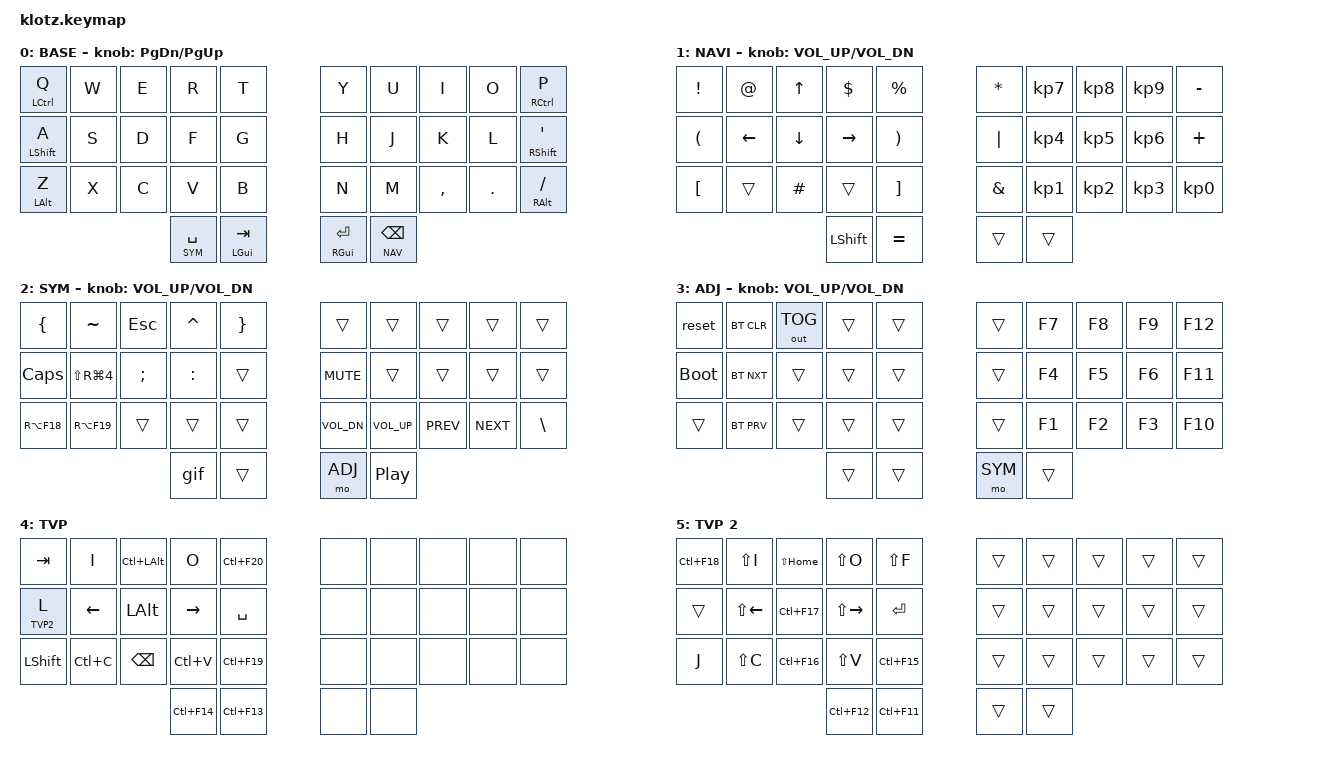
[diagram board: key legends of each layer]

//                                      █         ██        ▄▀▀▀▀▀▀▀▀▀▀█▀▀▀▀▀▀▀▀█▀▀▀▀▀▀▀▀▀▀█
//                                      █        █ █      ▄▀            ▀▄      █         █
//                                      █       █  █    ▄▀                ▀▄    █        █
//                                      █      █   █   █                    █   █       █
//                                      █     █    █   █                    █   █      █
//                                      █    █     █   █                    █   █  ▀▀▀█▀▀▀▀
//                                      █   █ █    █   █                    █   █    █
//                                      █  █   █   █   █                    █   █   █
//                                      █ █     █  █    ▀▄                ▄▀    █  █
//                                      ██       █ █      ▀▄            ▄▀      █ █
//                                      █         ██▄▄▄▄▄▄▄▄█▄▄▄▄▄▄▄▄▄▄▀        ██▄▄▄▄▄▄▄▄▄▄
//
// ▄▄▄▄▄▄▄▄▄▄▄▄▄▄▄▄▄▄▄▄▄▄▄▄▄▄▄▄▄▄▄▄▄▄▄▄▄▄▄▄▄▄▄▄▄▄▄▄▄▄▄▄▄▄▄▄▄▄▄▄▄▄▄▄▄▄▄▄▄▄▄▄▄▄▄▄▄▄▄▄▄▄▄▄▄▄▄▄▄▄▄▄▄▄▄▄▄▄▄▄▄▄▄▄▄▄▄▄▄▄▄▄▄▄▄▄▄▄▄▄▄▄▄▄▄


#include <behaviors.dtsi>
#include <dt-bindings/zmk/keys.h>
#include <dt-bindings/zmk/bt.h>
#include <dt-bindings/zmk/outputs.h>

#define BASE 0
#define NAV  1
#define SYM  2
#define ADJ  3
#define TVP1 4
#define TVP2 5

&mt {
  quick-tap-ms = <100>;
  global-quick-tap;
  flavor = "tap-preferred";
  tapping-term-ms = <125>;
};

/ {
     combos {
            compatible = "zmk,combos";
            combo_esc {
                timeout-ms = <50>;
                key-positions = <0 1>;
                bindings = <&kp ESC>;
            };
            combo_tvp {
                timeout-ms = <100>;
                key-positions = <11 12 13>;
                bindings = <&tog TVP1>;
            };
    };

    macros {
        gif: gif {
            label = "giphy";
            compatible = "zmk,behavior-macro";
            #binding-cells = <0>;
            bindings
                = <&macro_press &kp LSHFT>
                , <&macro_tap &kp N2>
                , <&macro_release &kp LSHFT>
                , <&macro_tap &kp G &kp I &kp F>
                ;
        };
    };

        keymap {
                compatible = "zmk,keymap";
// ▄▄▄▄▄▄▄▄▄▄▄▄▄▄▄▄▄▄▄▄▄▄▄▄▄▄▄▄▄▄▄▄▄▄▄▄▄▄▄▄▄▄▄▄▄▄▄▄▄▄▄▄▄▄▄▄▄▄▄▄▄▄▄▄▄▄▄▄▄▄▄▄▄▄▄▄▄▄▄▄▄▄▄▄▄▄▄▄▄▄▄▄▄▄▄▄▄▄▄▄▄▄▄▄▄▄▄▄▄▄▄▄▄▄▄▄▄▄▄▄▄▄▄▄▄


                base_layer {
// ┏━━━━━━━━━━━━━━━━━━━━━━━━━━━━━━━━━━━━━━━┓
label= "BASE"                              ;
// ┗━━━━━━━━━━━━━━━━━━━━━━━━━━━━━━━━━━━━━━━┛
// ┏━━━━━━━━━━━┳━━━━━━━━━━━┳━━━━━━━━━━━┳━━━━━━━━━━━┳━━━━━━━━━━━┓   ┏━━━━━━━━━━━┳━━━━━━━━━━━┳━━━━━━━━━━━┳━━━━━━━━━━━┳━━━━━━━━━━━┓
// ┃     Q     ┃     W     ┃     E     ┃     R     ┃     T     ┃   ┃     Y     ┃     U     ┃     I     ┃     O     ┃     P     ┃
// ┣━━━━━━━━━━━╋━━━━━━━━━━━╋━━━━━━━━━━━╋━━━━━━━━━━━╋━━━━━━━━━━━┫   ┣━━━━━━━━━━━╋━━━━━━━━━━━╋━━━━━━━━━━━╋━━━━━━━━━━━╋━━━━━━━━━━━┫
// ┃     A     ┃     S     ┃     D     ┃     F     ┃     G     ┃   ┃     H     ┃     J     ┃     K     ┃     L     ┃     '     ┃
// ┣━━━━━━━━━━━╋━━━━━━━━━━━╋━━━━━━━━━━━╋━━━━━━━━━━━╋━━━━━━━━━━━┫   ┣━━━━━━━━━━━╋━━━━━━━━━━━╋━━━━━━━━━━━╋━━━━━━━━━━━╋━━━━━━━━━━━┫
// ┃     Z     ┃     X     ┃     C     ┃     V     ┃     B     ┃   ┃     N     ┃     M     ┃     ,     ┃     .     ┃     /     ┃
// ┗━━━━━━━━━━━┻━━━━━━━━━━━┻━━━━━━━━━━━╋━━━━━━━━━━━╋━━━━━━━━━━━┫   ┣━━━━━━━━━━━╋━━━━━━━━━━━╋━━━━━━━━━━━┻━━━━━━━━━━━┻━━━━━━━━━━━┛
//                                     ┃    SPC    ┃    TAB    ┃   ┃   ENTER   ┃   BSPC    ┃
//                                     ┗━━━━━━━━━━━┻━━━━━━━━━━━┛   ┗━━━━━━━━━━━┻━━━━━━━━━━━┛
 bindings = <
// ╷           ╷           ╷           ╷           ╷           ╷   ╷           ╷           ╷           ╷           ╷           ╷

    &mt LCTRL Q    &kp W       &kp E       &kp R        &kp T         &kp Y         &kp U      &kp I      &kp O      &mt RCTRL P
    &mt LSHFT A    &kp S       &kp D       &kp F        &kp G         &kp H         &kp J      &kp K      &kp L      &mt RSHFT APOS
    &mt LALT Z     &kp X       &kp C       &kp V        &kp B         &kp N         &kp M      &kp COMMA  &kp DOT    &mt RALT  FSLH
                                           &lt SYM SPC  &mt LGUI TAB  &mt RGUI RET  &lt NAV BSPC
                        >;
            sensor-bindings = <&inc_dec_kp PG_DN PG_UP>;
                };

// ▄▄▄▄▄▄▄▄▄▄▄▄▄▄▄▄▄▄▄▄▄▄▄▄▄▄▄▄▄▄▄▄▄▄▄▄▄▄▄▄▄▄▄▄▄▄▄▄▄▄▄▄▄▄▄▄▄▄▄▄▄▄▄▄▄▄▄▄▄▄▄▄▄▄▄▄▄▄▄▄▄▄▄▄▄▄▄▄▄▄▄▄▄▄▄▄▄▄▄▄▄▄▄▄▄▄▄▄▄▄▄▄▄▄▄▄▄▄▄▄▄▄▄▄▄


                nav_layer {
// ┏━━━━━━━━━━━━━━━━━━━━━━━━━━━━━━━━━━━━━━━┓
label= "NAVI"                              ;
// ┗━━━━━━━━━━━━━━━━━━━━━━━━━━━━━━━━━━━━━━━┛
// ┏━━━━━━━━━━━┳━━━━━━━━━━━┳━━━━━━━━━━━┳━━━━━━━━━━━┳━━━━━━━━━━━┓   ┏━━━━━━━━━━━┳━━━━━━━━━━━┳━━━━━━━━━━━┳━━━━━━━━━━━┳━━━━━━━━━━━┓
// ┃     !     ┃     @     ┃     UP    ┃     $     ┃     %     ┃   ┃     *     ┃     7     ┃     8     ┃     9     ┃     -     ┃
// ┣━━━━━━━━━━━╋━━━━━━━━━━━╋━━━━━━━━━━━╋━━━━━━━━━━━╋━━━━━━━━━━━┫   ┣━━━━━━━━━━━╋━━━━━━━━━━━╋━━━━━━━━━━━╋━━━━━━━━━━━╋━━━━━━━━━━━┫
// ┃     (     ┃   LEFT    ┃    DOWN   ┃   RIGHT   ┃     )     ┃   ┃     |     ┃     4     ┃     5     ┃     6     ┃     +     ┃
// ┣━━━━━━━━━━━╋━━━━━━━━━━━╋━━━━━━━━━━━╋━━━━━━━━━━━╋━━━━━━━━━━━┫   ┣━━━━━━━━━━━╋━━━━━━━━━━━╋━━━━━━━━━━━╋━━━━━━━━━━━╋━━━━━━━━━━━┫
// ┃     [     ┃           ┃     #     ┃           ┃     ]     ┃   ┃     &     ┃     1     ┃     2     ┃     3     ┃     0     ┃
// ┗━━━━━━━━━━━┻━━━━━━━━━━━┻━━━━━━━━━━━╋━━━━━━━━━━━╋━━━━━━━━━━━┫   ┣━━━━━━━━━━━╋━━━━━━━━━━━╋━━━━━━━━━━━┻━━━━━━━━━━━┻━━━━━━━━━━━┛
//                                     ┃   SHIFT   ┃   EQUAL   ┃   ┃           ┃           ┃
//                                     ┗━━━━━━━━━━━┻━━━━━━━━━━━┛   ┗━━━━━━━━━━━┻━━━━━━━━━━━┛
 bindings = <
// ╷           ╷           ╷           ╷           ╷           ╷   ╷           ╷           ╷           ╷           ╷           ╷

    &kp EXCL     &kp AT      &kp UP      &kp DLLR    &kp PRCNT       &kp STAR    &kp KP_N7   &kp KP_N8   &kp KP_N9   &kp MINUS
    &kp LPAR     &kp LEFT    &kp DOWN    &kp RIGHT   &kp RPAR        &kp PIPE    &kp KP_N4   &kp KP_N5   &kp KP_N6   &kp PLUS
    &kp LBKT     &trans      &kp HASH    &trans      &kp RBKT        &kp AMPS    &kp KP_N1   &kp KP_N2   &kp KP_N3   &kp KP_N0
                                         &kp LSHFT   &kp EQUAL       &trans      &trans
                        >;
            sensor-bindings = <&inc_dec_kp C_VOL_UP C_VOL_DN>;
                };

// ▄▄▄▄▄▄▄▄▄▄▄▄▄▄▄▄▄▄▄▄▄▄▄▄▄▄▄▄▄▄▄▄▄▄▄▄▄▄▄▄▄▄▄▄▄▄▄▄▄▄▄▄▄▄▄▄▄▄▄▄▄▄▄▄▄▄▄▄▄▄▄▄▄▄▄▄▄▄▄▄▄▄▄▄▄▄▄▄▄▄▄▄▄▄▄▄▄▄▄▄▄▄▄▄▄▄▄▄▄▄▄▄▄▄▄▄▄▄▄▄▄▄▄▄▄


                sim_layer {
// ┏━━━━━━━━━━━━━━━━━━━━━━━━━━━━━━━━━━━━━━━┓
label= "SYM"                               ;
// ┗━━━━━━━━━━━━━━━━━━━━━━━━━━━━━━━━━━━━━━━┛
// ┏━━━━━━━━━━━┳━━━━━━━━━━━┳━━━━━━━━━━━┳━━━━━━━━━━━┳━━━━━━━━━━━┓   ┏━━━━━━━━━━━┳━━━━━━━━━━━┳━━━━━━━━━━━┳━━━━━━━━━━━┳━━━━━━━━━━━┓
// ┃     {     ┃     ~     ┃    ESC    ┃     ˆ     ┃     }     ┃   ┃           ┃           ┃           ┃           ┃           ┃
// ┣━━━━━━━━━━━╋━━━━━━━━━━━╋━━━━━━━━━━━╋━━━━━━━━━━━╋━━━━━━━━━━━┫   ┣━━━━━━━━━━━╋━━━━━━━━━━━╋━━━━━━━━━━━╋━━━━━━━━━━━╋━━━━━━━━━━━┫
// ┃   CAPS    ┃  SCRNSHT  ┃     ;     ┃     :     ┃           ┃   ┃   MUTE    ┃   ENTER   ┃           ┃           ┃           ┃
// ┣━━━━━━━━━━━╋━━━━━━━━━━━╋━━━━━━━━━━━╋━━━━━━━━━━━╋━━━━━━━━━━━┫   ┣━━━━━━━━━━━╋━━━━━━━━━━━╋━━━━━━━━━━━╋━━━━━━━━━━━╋━━━━━━━━━━━┫
// ┃  EMAIL1   ┃  EMAIL2   ┃           ┃           ┃           ┃   ┃   VOL-    ┃   VOL+    ┃   LAST    ┃   NEXT    ┃     \     ┃
// ┗━━━━━━━━━━━┻━━━━━━━━━━━┻━━━━━━━━━━━╋━━━━━━━━━━━╋━━━━━━━━━━━┫   ┣━━━━━━━━━━━╋━━━━━━━━━━━╋━━━━━━━━━━━┻━━━━━━━━━━━┻━━━━━━━━━━━┛
//                                     ┃    GIF    ┃           ┃   ┃    ADJ    ┃   PLAY    ┃
//                                     ┗━━━━━━━━━━━┻━━━━━━━━━━━┛   ┗━━━━━━━━━━━┻━━━━━━━━━━━┛
 bindings = <
// ╷           ╷           ╷           ╷           ╷           ╷   ╷           ╷           ╷           ╷           ╷           ╷

    &kp LBRC    &kp TILDE      &kp ESC        &kp CARET   &kp RBRC       &trans        &trans        &trans      &trans      &trans
    &kp CAPS    &kp LS(RG(N4)) &kp SEMICOLON  &kp COLON   &trans         &kp C_MUTE    &trans        &trans      &trans      &trans
    &kp RA(F18) &kp RA(F19)    &trans         &trans      &trans         &kp C_VOL_DN  &kp C_VOL_UP  &kp C_PREV  &kp C_NEXT  &kp BSLH
                                              &gif        &trans         &mo ADJ       &kp C_PP
                        >;
                sensor-bindings = <&inc_dec_kp C_VOL_UP C_VOL_DN>;
                };

// ▄▄▄▄▄▄▄▄▄▄▄▄▄▄▄▄▄▄▄▄▄▄▄▄▄▄▄▄▄▄▄▄▄▄▄▄▄▄▄▄▄▄▄▄▄▄▄▄▄▄▄▄▄▄▄▄▄▄▄▄▄▄▄▄▄▄▄▄▄▄▄▄▄▄▄▄▄▄▄▄▄▄▄▄▄▄▄▄▄▄▄▄▄▄▄▄▄▄▄▄▄▄▄▄▄▄▄▄▄▄▄▄▄▄▄▄▄▄▄▄▄▄▄▄▄


                adjust_layer {
// ┏━━━━━━━━━━━━━━━━━━━━━━━━━━━━━━━━━━━━━━━┓
label= "ADJ"                               ;
// ┗━━━━━━━━━━━━━━━━━━━━━━━━━━━━━━━━━━━━━━━┛
// ┏━━━━━━━━━━━┳━━━━━━━━━━━┳━━━━━━━━━━━┳━━━━━━━━━━━┳━━━━━━━━━━━┓   ┏━━━━━━━━━━━┳━━━━━━━━━━━┳━━━━━━━━━━━┳━━━━━━━━━━━┳━━━━━━━━━━━┓
// ┃   RESET   ┃ BT CLEAR  ┃  OUT TOG  ┃           ┃           ┃   ┃           ┃    F7     ┃    F8     ┃    F9     ┃    F12    ┃
// ┣━━━━━━━━━━━╋━━━━━━━━━━━╋━━━━━━━━━━━╋━━━━━━━━━━━╋━━━━━━━━━━━┫   ┣━━━━━━━━━━━╋━━━━━━━━━━━╋━━━━━━━━━━━╋━━━━━━━━━━━╋━━━━━━━━━━━┫
// ┃ BOOTLOAD  ┃ BT NEXT   ┃           ┃           ┃   CAPS    ┃   ┃           ┃    F4     ┃    F5     ┃    F6     ┃    F11    ┃
// ┣━━━━━━━━━━━╋━━━━━━━━━━━╋━━━━━━━━━━━╋━━━━━━━━━━━╋━━━━━━━━━━━┫   ┣━━━━━━━━━━━╋━━━━━━━━━━━╋━━━━━━━━━━━╋━━━━━━━━━━━╋━━━━━━━━━━━┫
// ┃           ┃ BT PREV   ┃           ┃           ┃           ┃   ┃           ┃    F1     ┃    F2     ┃    F3     ┃    F10    ┃
// ┗━━━━━━━━━━━┻━━━━━━━━━━━┻━━━━━━━━━━━╋━━━━━━━━━━━╋━━━━━━━━━━━┫   ┣━━━━━━━━━━━╋━━━━━━━━━━━╋━━━━━━━━━━━┻━━━━━━━━━━━┻━━━━━━━━━━━┛
//                                     ┃           ┃           ┃   ┃    SYM    ┃           ┃
//                                     ┗━━━━━━━━━━━┻━━━━━━━━━━━┛   ┗━━━━━━━━━━━┻━━━━━━━━━━━┛
 bindings = <
// ╷           ╷           ╷           ╷           ╷           ╷   ╷           ╷           ╷           ╷           ╷           ╷

    &reset      &bt BT_CLR  &out OUT_TOG &trans      &trans          &trans      &kp F7      &kp F8      &kp F9      &kp F12
    &bootloader &bt BT_NXT  &trans       &trans      &trans          &trans      &kp F4      &kp F5      &kp F6      &kp F11
    &trans      &bt BT_PRV  &trans       &trans      &trans          &trans      &kp F1      &kp F2      &kp F3      &kp F10
                                         &trans      &trans          &mo SYM     &trans
                        >;
            sensor-bindings = <&inc_dec_kp C_VOL_UP C_VOL_DN>;
                };

// ▄▄▄▄▄▄▄▄▄▄▄▄▄▄▄▄▄▄▄▄▄▄▄▄▄▄▄▄▄▄▄▄▄▄▄▄▄▄▄▄▄▄▄▄▄▄▄▄▄▄▄▄▄▄▄▄▄▄▄▄▄▄▄▄▄▄▄▄▄▄▄▄▄▄▄▄▄▄▄▄▄▄▄▄▄▄▄▄▄▄▄▄▄▄▄▄▄▄▄▄▄▄▄▄▄▄▄▄▄▄▄▄▄▄▄▄▄▄▄▄▄▄▄▄▄



                tvp1_layer {
// ┏━━━━━━━━━━━━━━━━━━━━━━━━━━━━━━━━━━━━━━━┓
label= "TVP"                               ;
// ┗━━━━━━━━━━━━━━━━━━━━━━━━━━━━━━━━━━━━━━━┛
// ┏━━━━━━━━━━━┳━━━━━━━━━━━┳━━━━━━━━━━━┳━━━━━━━━━━━┳━━━━━━━━━━━┓   ┏━━━━━━━━━━━┳━━━━━━━━━━━┳━━━━━━━━━━━┳━━━━━━━━━━━┳━━━━━━━━━━━┓
// ┃ NEXT FILE ┃ MARK IN   ┃ ROTATE    ┃ MARK OUT  ┃ SHOW SNAP ┃   ┃           ┃           ┃           ┃           ┃           ┃
// ┣━━━━━━━━━━━╋━━━━━━━━━━━╋━━━━━━━━━━━╋━━━━━━━━━━━╋━━━━━━━━━━━┫   ┣━━━━━━━━━━━╋━━━━━━━━━━━╋━━━━━━━━━━━╋━━━━━━━━━━━╋━━━━━━━━━━━┫
// ┃ TVP II    ┃ LEFT      ┃ PAN       ┃ RIGHT     ┃ PLAY/FLIP ┃   ┃           ┃           ┃           ┃           ┃           ┃
// ┣━━━━━━━━━━━╋━━━━━━━━━━━╋━━━━━━━━━━━╋━━━━━━━━━━━╋━━━━━━━━━━━┫   ┣━━━━━━━━━━━╋━━━━━━━━━━━╋━━━━━━━━━━━╋━━━━━━━━━━━╋━━━━━━━━━━━┫
// ┃ SHIFT     ┃ COPY      ┃ DELETE    ┃ PASTE     ┃ IMG MARK  ┃   ┃           ┃           ┃           ┃           ┃           ┃
// ┗━━━━━━━━━━━┻━━━━━━━━━━━┻━━━━━━━━━━━╋━━━━━━━━━━━╋━━━━━━━━━━━┫   ┣━━━━━━━━━━━╋━━━━━━━━━━━╋━━━━━━━━━━━┻━━━━━━━━━━━┻━━━━━━━━━━━┛
//                                     ┃ UNDO/SAVE ┃  SEL/MOV  ┃   ┃           ┃           ┃
//                                     ┗━━━━━━━━━━━┻━━━━━━━━━━━┛   ┗━━━━━━━━━━━┻━━━━━━━━━━━┛
 bindings = <
// ╷           ╷           ╷           ╷           ╷           ╷   ╷           ╷           ╷           ╷           ╷           ╷

    &kp TAB     &kp I       &kp LC(LALT) &kp O      &kp LC(F20)     &none       &none       &none       &none       &none
    &lt TVP2 L  &kp LEFT    &kp LALT    &kp RIGHT   &kp SPACE       &none       &none       &none       &none       &none
    &kp LSHFT   &kp LC(C)   &kp BSPC    &kp LC(V)   &kp LC(F19)     &none       &none       &none       &none       &none
                                        &kp LC(F14) &kp LC(F13)     &none       &none
                          >;
                };

// ▄▄▄▄▄▄▄▄▄▄▄▄▄▄▄▄▄▄▄▄▄▄▄▄▄▄▄▄▄▄▄▄▄▄▄▄▄▄▄▄▄▄▄▄▄▄▄▄▄▄▄▄▄▄▄▄▄▄▄▄▄▄▄▄▄▄▄▄▄▄▄▄▄▄▄▄▄▄▄▄▄▄▄▄▄▄▄▄▄▄▄▄▄▄▄▄▄▄▄▄▄▄▄▄▄▄▄▄▄▄▄▄▄▄▄▄▄▄▄▄▄▄▄▄▄


                tvp2_layer {
// ┏━━━━━━━━━━━━━━━━━━━━━━━━━━━━━━━━━━━━━━━┓
label= "TVP 2"                             ;
// ┗━━━━━━━━━━━━━━━━━━━━━━━━━━━━━━━━━━━━━━━┛
// ┏━━━━━━━━━━━┳━━━━━━━━━━━┳━━━━━━━━━━━┳━━━━━━━━━━━┳━━━━━━━━━━━┓   ┏━━━━━━━━━━━┳━━━━━━━━━━━┳━━━━━━━━━━━┳━━━━━━━━━━━┳━━━━━━━━━━━┓
// ┃ SOLO      ┃ TOGGLE IN ┃ RESET ROT ┃ TOGGLE OUT┃ TAKE SNAP ┃   ┃           ┃           ┃           ┃           ┃           ┃
// ┣━━━━━━━━━━━╋━━━━━━━━━━━╋━━━━━━━━━━━╋━━━━━━━━━━━╋━━━━━━━━━━━┫   ┣━━━━━━━━━━━╋━━━━━━━━━━━╋━━━━━━━━━━━╋━━━━━━━━━━━╋━━━━━━━━━━━┫
// ┃ ---       ┃ LAST KEY  ┃ NEW KEY   ┃ NEXT KEY  ┃ ENTER     ┃   ┃           ┃           ┃           ┃           ┃           ┃
// ┣━━━━━━━━━━━╋━━━━━━━━━━━╋━━━━━━━━━━━╋━━━━━━━━━━━╋━━━━━━━━━━━┫   ┣━━━━━━━━━━━╋━━━━━━━━━━━╋━━━━━━━━━━━╋━━━━━━━━━━━╋━━━━━━━━━━━┫
// ┃ FULLSCR   ┃ CPY2BRUSH ┃ DEL HEAD  ┃ PSTinPLACE┃ BOOK MARK ┃   ┃           ┃           ┃           ┃           ┃           ┃
// ┗━━━━━━━━━━━┻━━━━━━━━━━━┻━━━━━━━━━━━╋━━━━━━━━━━━╋━━━━━━━━━━━┫   ┣━━━━━━━━━━━╋━━━━━━━━━━━╋━━━━━━━━━━━┻━━━━━━━━━━━┻━━━━━━━━━━━┛
//                                     ┃ REDO/SAV1 ┃TRANS/WARP ┃   ┃           ┃           ┃
//                                     ┗━━━━━━━━━━━┻━━━━━━━━━━━┛   ┗━━━━━━━━━━━┻━━━━━━━━━━━┛
 bindings = <
// ╷           ╷           ╷           ╷           ╷           ╷   ╷           ╷           ╷           ╷           ╷           ╷

    &kp LC(F18) &kp LS(I)  &kp LS(HOME) &kp LS(O)   &kp LS(F)       &trans      &trans      &trans      &trans      &trans
    &trans      &kp LS(LEFT) &kp LC(F17) &kp LS(RIGHT) &kp RET      &trans      &trans      &trans      &trans      &trans
    &kp J       &kp LS(C)   &kp LC(F16) &kp LS(V)   &kp LC(F15)     &trans      &trans      &trans      &trans      &trans
                                        &kp LC(F12) &kp LC(F11)     &trans      &trans
                          >;
                };
        };
};
